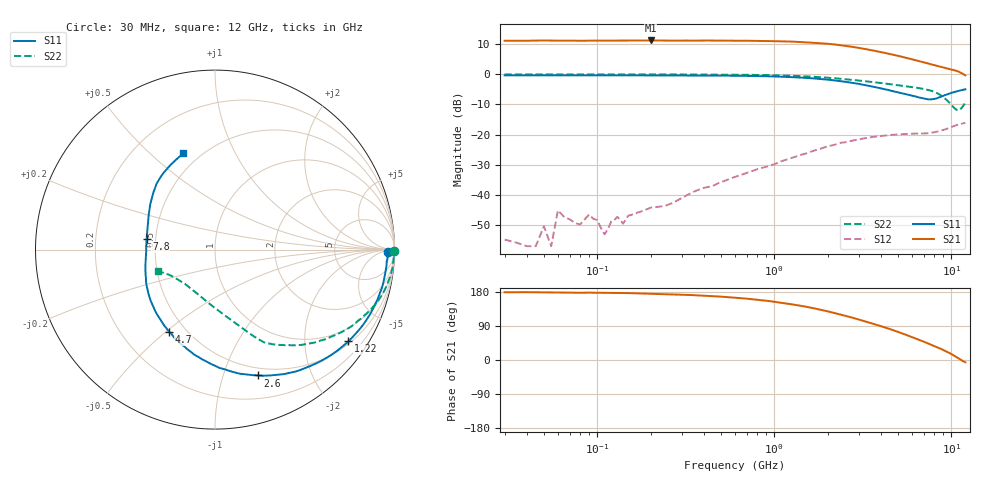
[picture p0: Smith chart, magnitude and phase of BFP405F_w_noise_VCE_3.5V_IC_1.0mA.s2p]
! Infineon Technologies  Discrete & RF Semiconductors
! BFP405F
! VCE =  3.5 V,  IC =  1.0 mA
! Common Emitter S-Parameters:  Nov 2015
# GHz  S  MA  R  50
!  f  S11  S21  S12  S22
! GHz  MAG  ANG  MAG  ANG  MAG  ANG  MAG  ANG
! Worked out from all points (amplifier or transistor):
!   239 points, 30 MHz to 12 GHz, reference 50 ohm
!   highest |S21| = 11.2 dB at 200 MHz (marker M1)
!   |S21| within 3 dB of that: start of sweep to 3.364 GHz
!   unconditionally stable (mu >= 1): 44.88 MHz to 45.47 MHz; 4.822 GHz to end of sweep
!   at 300 MHz: K = -0.09, MSG = 26.2 dB, |S12| = -41.1 dB
!   at 1.88 GHz: K = 0.21, MSG = 17.4 dB, |S12| = -24.5 dB
!   at 12 GHz: K = 2.01, MAG = 2.1 dB, |S12| = -16.1 dB
!   lowest NFmin = 0.95 dB at 450 MHz
!   S11 on the Smith chart (normalised r, x): 30 MHz: 45, -16; 1.22 GHz: 0.57, -3.13; 2.6 GHz: 0.42, -1.31; 4.7 GHz: 0.41, -0.51; 7.8 GHz: 0.45, +0.06; 12 GHz: 0.41, +0.64
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0.03  0.9613 -0.8  3.616 178.8  0.0018 105.6  0.9969 -0.4
0.045  0.9611 -1.3  3.629 178.7  0.0014 4.1  0.9958 -0.7
0.05  0.9633 -1.5  3.65 178.4  0.003 -23.5  0.9946 -1.0
0.055  0.9619 -1.6  3.634 178.3  0.0014 123.5  0.9973 -0.8
0.06  0.9605 -1.7  3.619 178.2  0.0055 140.8  1 -0.6
0.085  0.9621 -2.4  3.618 177.6  0.0039 72.4  0.9978 -1.2
0.1  0.9617 -2.8  3.623 177.5  0.0038 121.7  0.9949 -1.7
0.11  0.9618 -3.1  3.616 177.2  0.0022 78.3  0.9962 -1.6
0.13  0.9601 -3.7  3.634 176.7  0.0043 82.1  0.9974 -1.9
0.14  0.9585 -4.0  3.634 176.8  0.0033 75.1  0.9988 -2.2
0.2  0.9596 -5.7  3.651 174.7  0.0061 96.9  0.9963 -3.0
0.24  0.9584 -6.8  3.631 173.9  0.0065 83.8  0.996 -3.6
0.6  0.9471 -16.9  3.612 164.4  0.0198 82.9  0.9873 -8.9
1.22  0.9022 -34.5  3.503 147.9  0.0398 74.1  0.9495 -17.8
1.64  0.8585 -46.0  3.353 137.3  0.0529 67.5  0.9131 -23.3
2.6  0.7413 -71.1  2.925 115.0  0.0761 53.2  0.822 -35.4
3.3  0.6597 -87.8  2.616 101.1  0.0875 44.7  0.7649 -42.2
4.5  0.5411 -114.7  2.169 81.6  0.0979 34.2  0.6884 -50.7
4.7  0.5245 -119.2  2.109 78.5  0.0994 32.9  0.6758 -51.9
7.8  0.3857 171.2  1.448 39.2  0.1079 27.1  0.5264 -66.1
10.8  0.5234 120.7  1.127 6.3  0.1447 25.0  0.2552 -121.9
12  0.5637 108.2  0.96 -6.0  0.157 22.3  0.3386 -159.4
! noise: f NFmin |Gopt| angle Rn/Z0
0.45  0.95  0.71  8  0.64
0.9  0.98  0.67  15  0.67
1.5  1.19  0.65  22  0.58
1.9  1.27  0.61  31  0.56
2.4  1.5  0.57  41  0.57
3  1.58  0.55  52  0.52
3.5  1.65  0.54  62  0.48
4.5  1.9  0.46  83  0.38
5.5  2.29  0.32  105  0.28
